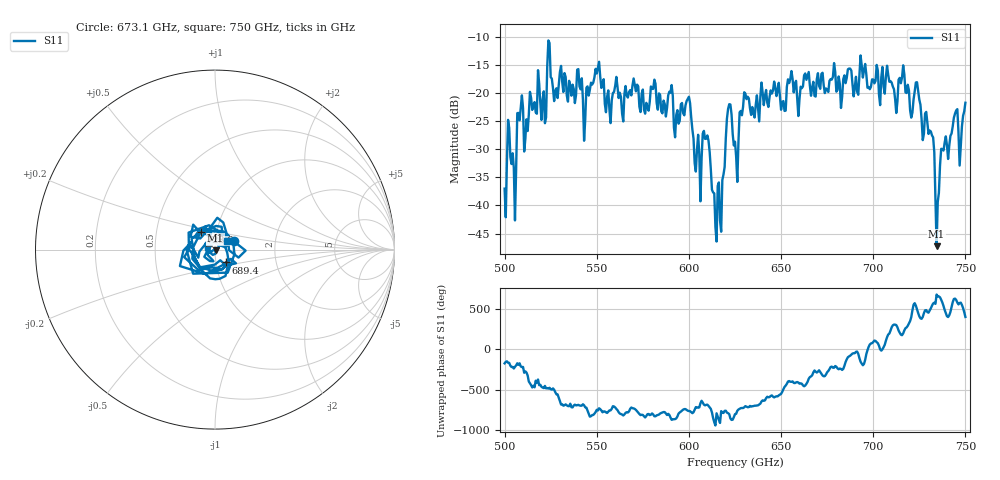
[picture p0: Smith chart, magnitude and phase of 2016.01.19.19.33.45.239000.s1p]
!Created with skrf (http://scikit-rf.org).
# GHz S RI R 50.0
!freq ReS11 ImS11
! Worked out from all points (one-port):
!   401 points, 500 GHz to 750 GHz, reference 50 ohm
!   lowest |S11| = -47.2 dB at 734.4 GHz (marker M1), VSWR 1.01, Z = 50.3 - j0.323 ohm
!   |S11| at or under -10 dB: start of sweep to end of sweep
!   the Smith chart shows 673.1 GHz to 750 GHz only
!   S11 on the Smith chart (normalised r, x): 673.1 GHz: 1.23, +0.13; 689.4 GHz: 1.11, -0.16; 723.8 GHz: 0.84, +0.16; 750 GHz: 1.14, +0.11
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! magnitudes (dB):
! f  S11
! 500 GHz  -37.0
! 502.5 GHz  -26.2
! 505 GHz  -33.3
! 508.1 GHz  -24.9
! 511.9 GHz  -24.7
! 521.2 GHz  -19.7
! 524.4 GHz  -11.1
! 531.2 GHz  -18.0
! 562.5 GHz  -20.0
! 590 GHz  -20.0
! 593.8 GHz  -23.0
! 599.4 GHz  -21.0
! 605 GHz  -27.4
! 609.4 GHz  -28.1
! 616.2 GHz  -35.9
! 621.9 GHz  -22.0
! 625 GHz  -28.7
! 631.2 GHz  -21.1
! 656.2 GHz  -17.5
! 673.1 GHz  -18.6
! 687.5 GHz  -15.7
! 689.4 GHz  -20.6
! 718.8 GHz  -18.5
! 723.8 GHz  -18.1
! 731.9 GHz  -27.5
! 734.4 GHz  -47.2
! 738.1 GHz  -30.2
! 750 GHz  -21.7
